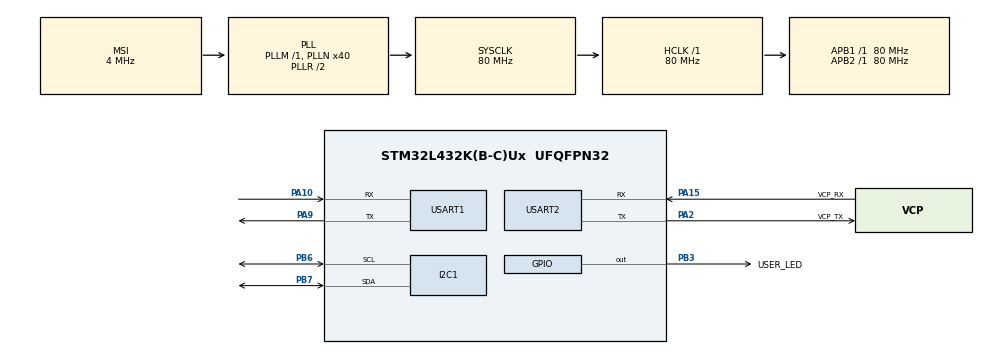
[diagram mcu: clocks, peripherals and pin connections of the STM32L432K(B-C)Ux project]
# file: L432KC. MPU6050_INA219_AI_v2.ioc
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I2C1.Timing=0x10D19CE4
Mcu.Family=STM32L4
Mcu.Name=STM32L432K(B-C)Ux
Mcu.Package=UFQFPN32
NVIC.PriorityGroup=NVIC_PRIORITYGROUP_4
PA0.GPIO_Label=MCO [High speed clock in]
PA0.Mode=HSE-External-Clock-Source-for-LittleOrca
PA0.Signal=RCC_CK_IN
PA10.Mode=Asynchronous
PA10.Signal=USART1_RX
PA13\ (JTMS-SWDIO).GPIO_Label=SWDIO
PA13\ (JTMS-SWDIO).Mode=Serial_Wire
PA13\ (JTMS-SWDIO).Signal=SYS_JTMS-SWDIO
PA14\ (JTCK-SWCLK).GPIO_Label=SWCLK
PA14\ (JTCK-SWCLK).Mode=Serial_Wire
PA14\ (JTCK-SWCLK).Signal=SYS_JTCK-SWCLK
PA15\ (JTDI).GPIO_Label=VCP_RX
PA15\ (JTDI).Mode=Asynchronous
PA15\ (JTDI).Signal=USART2_RX
PA2.GPIO_Label=VCP_TX
PA2.Mode=Asynchronous
PA2.Signal=USART2_TX
PA9.Mode=Asynchronous
PA9.Signal=USART1_TX
PB3\ (JTDO-TRACESWO).GPIO_Label=USER_LED
PB3\ (JTDO-TRACESWO).Signal=GPIO_Output
PB6.Mode=I2C
PB6.Signal=I2C1_SCL
PB7.Mode=I2C
PB7.Signal=I2C1_SDA
PC14-OSC32_IN\ (PC14).Mode=LSE-External-Oscillator
PC14-OSC32_IN\ (PC14).Signal=RCC_OSC32_IN
PC15-OSC32_OUT\ (PC15).Mode=LSE-External-Oscillator
PC15-OSC32_OUT\ (PC15).Signal=RCC_OSC32_OUT
ProjectManager.HeapSize=0x800
ProjectManager.StackSize=0x800
ProjectManager.TargetToolchain=STM32CubeIDE
RCC.AHBFreq_Value=80000000
RCC.APB1Freq_Value=80000000
RCC.APB1TimFreq_Value=80000000
RCC.APB2Freq_Value=80000000
RCC.APB2TimFreq_Value=80000000
RCC.CortexFreq_Value=80000000
RCC.HCLKFreq_Value=80000000
RCC.HSE_VALUE=8000000
RCC.HSI16_VALUE=16000000
RCC.HSI48_VALUE=48000000
RCC.HSI_VALUE=16000000
RCC.MSI_VALUE=4000000
RCC.PLLMUL=RCC_PLLMUL_4
RCC.PLLN=40
RCC.SYSCLKFreq_VALUE=80000000
RCC.SYSCLKSource=RCC_SYSCLKSOURCE_PLLCLK
RCC.VCOOutputFreq_Value=160000000
STMicroelectronics.X-CUBE-AI.10.2.0.ActivationBufferSizeList=2672
STMicroelectronics.X-CUBE-AI.10.2.0.ActivationBuffers=pool0
STMicroelectronics.X-CUBE-AI.10.2.0.ActivationNames=pool0
STMicroelectronics.X-CUBE-AI.10.2.0.ActivationSizes=AI_NETWORK_DATA_ACTIVATION_1_SIZE
STMicroelectronics.X-CUBE-AI.10.2.0.ApplicationCcDeviceJjApplication=ApplicationTemplate
STMicroelectronics.X-CUBE-AI.10.2.0.HeapSize=0x800
STMicroelectronics.X-CUBE-AI.10.2.0.InternalRamActivationBufferMaxSize=AI_NETWORK_DATA_ACTIVATIONS_SIZE
STMicroelectronics.X-CUBE-AI.10.2.0.LatestDirectoryUsed-8948988cd483a5e510699c6f2f5c29ddb332c8d1e6b1ee858876a3a81a83fe3c=C\:\\Users\\MSP\\Desktop\\Industrial-Edge_2026_02_21\\Industrial-Edge-AI-Solution-Challenge-2026\\python_code\\model
STMicroelectronics.X-CUBE-AI.10.2.0.MaximumNumberOfInputLayer=1
STMicroelectronics.X-CUBE-AI.10.2.0.MaximumNumberOfOutputLayer=1
STMicroelectronics.X-CUBE-AI.10.2.0.MaximumSizeOfInputLayer=1
STMicroelectronics.X-CUBE-AI.10.2.0.MaximumSizeOfOutputLayer=1
STMicroelectronics.X-CUBE-AI.10.2.0.ModelActualCompression-8948988cd483a5e510699c6f2f5c29ddb332c8d1e6b1ee858876a3a81a83fe3c=0.0
STMicroelectronics.X-CUBE-AI.10.2.0.ModelCompression-8948988cd483a5e510699c6f2f5c29ddb332c8d1e6b1ee858876a3a81a83fe3c=None
STMicroelectronics.X-CUBE-AI.10.2.0.ModelFlashOccupation-8948988cd483a5e510699c6f2f5c29ddb332c8d1e6b1ee858876a3a81a83fe3c=14776
STMicroelectronics.X-CUBE-AI.10.2.0.ModelHashList=8948988cd483a5e510699c6f2f5c29ddb332c8d1e6b1ee858876a3a81a83fe3c
STMicroelectronics.X-CUBE-AI.10.2.0.ModelKind-8948988cd483a5e510699c6f2f5c29ddb332c8d1e6b1ee858876a3a81a83fe3c=TFLITE
STMicroelectronics.X-CUBE-AI.10.2.0.ModelMacc-8948988cd483a5e510699c6f2f5c29ddb332c8d1e6b1ee858876a3a81a83fe3c=1027
STMicroelectronics.X-CUBE-AI.10.2.0.ModelName-8948988cd483a5e510699c6f2f5c29ddb332c8d1e6b1ee858876a3a81a83fe3c=network
STMicroelectronics.X-CUBE-AI.10.2.0.ModelNameList=network
STMicroelectronics.X-CUBE-AI.10.2.0.ModelRamOccupation-8948988cd483a5e510699c6f2f5c29ddb332c8d1e6b1ee858876a3a81a83fe3c=2672
STMicroelectronics.X-CUBE-AI.10.2.0.ModelStructureFile-8948988cd483a5e510699c6f2f5c29ddb332c8d1e6b1ee858876a3a81a83fe3c=C\:\\Users\\MSP\\Desktop\\Industrial-Edge_2026_02_21\\Industrial-Edge-AI-Solution-Challenge-2026\\python_code\\model\\motor_anomaly.tflite
STMicroelectronics.X-CUBE-AI.10.2.0.ModelType-8948988cd483a5e510699c6f2f5c29ddb332c8d1e6b1ee858876a3a81a83fe3c=STM32Cube.AI MCU runtime
STMicroelectronics.X-CUBE-AI.10.2.0.ReadyForCodeGeneration=true
STMicroelectronics.X-CUBE-AI.10.2.0.StackSize=0x800
STMicroelectronics.X-CUBE-AI.10.2.0.WorkingBufferStartAddrList=0xFFFFFFFF
STMicroelectronics.X-CUBE-AI.10.2.0.XAaCUBEAaAICcArtificialOoIntelligenceJjCore=true
STMicroelectronics.X-CUBE-AI.10.2.0.copyWeightToRam=false
STMicroelectronics.X-CUBE-AI.10.2.0.copyWeightToRam-8948988cd483a5e510699c6f2f5c29ddb332c8d1e6b1ee858876a3a81a83fe3c=false
STMicroelectronics.X-CUBE-AI.10.2.0.customLayerConfigEnabled=false
STMicroelectronics.X-CUBE-AI.10.2.0.customLayerConfigEnabled-8948988cd483a5e510699c6f2f5c29ddb332c8d1e6b1ee858876a3a81a83fe3c=false
STMicroelectronics.X-CUBE-AI.10.2.0.noOnnxIoTranspose=false
STMicroelectronics.X-CUBE-AI.10.2.0.noOnnxIoTranspose-8948988cd483a5e510699c6f2f5c29ddb332c8d1e6b1ee858876a3a81a83fe3c=false
STMicroelectronics.X-CUBE-AI.10.2.0.useInputAllocation=true
STMicroelectronics.X-CUBE-AI.10.2.0.useInputAllocation-8948988cd483a5e510699c6f2f5c29ddb332c8d1e6b1ee858876a3a81a83fe3c=true
STMicroelectronics.X-CUBE-AI.10.2.0.useOutputAllocation=true
STMicroelectronics.X-CUBE-AI.10.2.0.useOutputAllocation-8948988cd483a5e510699c6f2f5c29ddb332c8d1e6b1ee858876a3a81a83fe3c=true
USART1.VirtualMode-Asynchronous=VM_ASYNC
USART2.VirtualMode-Asynchronous=VM_ASYNC
VP_STMicroelectronics.X-CUBE-AI_VS_ArtificialOoIntelligenceJjXAaCUBEAaAI_10.2.0.Mode=ArtificialOoIntelligenceJjXAaCUBEAaAI
VP_STMicroelectronics.X-CUBE-AI_VS_DeviceJjApplication_10.2.0.Mode=DeviceJjApplication
board=NUCLEO-L432KC

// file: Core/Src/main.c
/* USER CODE BEGIN Header */
/**
  ******************************************************************************
  * @file           : main.c
  * @brief          : Main program body
  ******************************************************************************
  * @attention
  *
  * Copyright (c) 2026 STMicroelectronics.
  * All rights reserved.
  *
  * This software is licensed under terms that can be found in the LICENSE file
  * in the root directory of this software component.
  * If no LICENSE file comes with this software, it is provided AS-IS.
  *
  ******************************************************************************
  */
/* USER CODE END Header */
#include "main.h"
#include "app_x-cube-ai.h"

/* USER CODE BEGIN Includes */
#include <stdio.h>
#include <string.h>
#include "mpu6050.h"
#include "ina219.h"
#include "app_x-cube-ai.h"
#include "feature_extraction.h"
#include "anomaly_detection.h"

/* USER CODE END Includes */

/* USER CODE BEGIN PD */
#define MODE_COLLECT  0
#define MODE_INFER    1
#define CURRENT_MODE  MODE_INFER  // ← 수집할때: MODE_COLLECT / 추론할때: MODE_INFER
#define WINDOW_DIV_NUM 25
/* USER CODE END PD */

I2C_HandleTypeDef hi2c1;

UART_HandleTypeDef huart1;
UART_HandleTypeDef huart2;

/* USER CODE BEGIN PV */
MPU6050_t MPU6050_Data;
INA219_t  INA219_Data;

/* USER CODE END PV */

void SystemClock_Config(void);
static void MX_GPIO_Init(void);
static void MX_USART2_UART_Init(void);
static void MX_I2C1_Init(void);
static void MX_USART1_UART_Init(void);

/* USER CODE BEGIN 0 */

int _write(int file, char *ptr, int len)
{
	HAL_UART_Transmit(&huart2, (uint8_t*)ptr, len, HAL_MAX_DELAY);
	return len;
}

/* USER CODE END 0 */

int main(void)
{

  /* MCU Configuration--------------------------------------------------------*/

  /* Reset of all peripherals, Initializes the Flash interface and the Systick. */
  HAL_Init();

  /* Configure the system clock */
  SystemClock_Config();

  /* Initialize all configured peripherals */
  MX_GPIO_Init();
  MX_USART2_UART_Init();
  MX_I2C1_Init();
  MX_USART1_UART_Init();
  MX_X_CUBE_AI_Init();
  /* USER CODE BEGIN 2 */

  printf("=== Motor Anomaly Detection ===\r\n");

  if(MPU6050_Init(&hi2c1)) printf("MPU6050: OK\r\n");
  if(INA219_Init(&hi2c1))  printf("INA219:  OK\r\n");

#if CURRENT_MODE == MODE_COLLECT
  printf("Mode: DATA COLLECT\r\n");
  printf("time_s,ax,ay,az,gx,gy,gz,current,voltage,power\r\n");  // CSV 헤더!
#else
  printf("Mode: AI INFER\r\n");
  printf("AI Model: OK\r\n");
  anomaly_detection_init();  // ← 이 줄 추가!
#endif

  /* USER CODE END 2 */

  /* Infinite loop */
  while (1)
  {

  MX_X_CUBE_AI_Process();
    /* USER CODE BEGIN 3 */

	  MPU6050_Read_All(&hi2c1, &MPU6050_Data);
	  INA219_Read_All(&hi2c1, &INA219_Data);

#if CURRENT_MODE == MODE_COLLECT
	  printf("%d,%d,%d,%d,%d,%d,%.3f,%.2f,%.2f\r\n",
			  MPU6050_Data.Accel_X_RAW,
			  MPU6050_Data.Accel_Y_RAW,
			  MPU6050_Data.Accel_Z_RAW,
			  MPU6050_Data.Gyro_X_RAW,
			  MPU6050_Data.Gyro_Y_RAW,
			  MPU6050_Data.Gyro_Z_RAW,
			  INA219_Data.current,
			  INA219_Data.voltage,
			  INA219_Data.power);

#else
	  window_buf[window_idx % WINDOW_SIZE].ax      = (float)MPU6050_Data.Accel_X_RAW;
	  window_buf[window_idx % WINDOW_SIZE].ay      = (float)MPU6050_Data.Accel_Y_RAW;
	  window_buf[window_idx % WINDOW_SIZE].az      = (float)MPU6050_Data.Accel_Z_RAW;
	  window_buf[window_idx % WINDOW_SIZE].gx      = (float)MPU6050_Data.Gyro_X_RAW;
	  window_buf[window_idx % WINDOW_SIZE].gy      = (float)MPU6050_Data.Gyro_Y_RAW;
	  window_buf[window_idx % WINDOW_SIZE].gz      = (float)MPU6050_Data.Gyro_Z_RAW;
	  window_buf[window_idx % WINDOW_SIZE].current = INA219_Data.current;
	  window_buf[window_idx % WINDOW_SIZE].voltage = INA219_Data.voltage;
	  window_buf[window_idx % WINDOW_SIZE].power   = INA219_Data.power;
	  window_idx++;

	  if(window_idx >= WINDOW_SIZE && window_idx % WINDOW_DIV_NUM == 0) {
		  extract_features(window_buf, g_features);
		  normalize(g_features);
		  MX_X_CUBE_AI_Process();

		  anomaly_detection_process(g_output);

		  // overflow 방지
		  if(window_idx > 1000000) {
			  window_idx = WINDOW_SIZE;
		  }
	  }
#endif

	  HAL_Delay(100);
  }

  /* USER CODE END 3 */
}

void SystemClock_Config(void)
{
  RCC_OscInitTypeDef RCC_OscInitStruct = {0};
  RCC_ClkInitTypeDef RCC_ClkInitStruct = {0};

  /** Configure the main internal regulator output voltage
  */
  if (HAL_PWREx_ControlVoltageScaling(PWR_REGULATOR_VOLTAGE_SCALE1) != HAL_OK)
  {
    Error_Handler();
  }

  /** Configure LSE Drive Capability
  */
  HAL_PWR_EnableBkUpAccess();
  __HAL_RCC_LSEDRIVE_CONFIG(RCC_LSEDRIVE_LOW);

  /** Initializes the RCC Oscillators according to the specified parameters
  * in the RCC_OscInitTypeDef structure.
  */
  RCC_OscInitStruct.OscillatorType = RCC_OSCILLATORTYPE_LSE|RCC_OSCILLATORTYPE_MSI;
  RCC_OscInitStruct.LSEState = RCC_LSE_ON;
  RCC_OscInitStruct.MSIState = RCC_MSI_ON;
  RCC_OscInitStruct.MSICalibrationValue = 0;
  RCC_OscInitStruct.MSIClockRange = RCC_MSIRANGE_6;
  RCC_OscInitStruct.PLL.PLLState = RCC_PLL_ON;
  RCC_OscInitStruct.PLL.PLLSource = RCC_PLLSOURCE_MSI;
  RCC_OscInitStruct.PLL.PLLM = 1;
  RCC_OscInitStruct.PLL.PLLN = 40;
  RCC_OscInitStruct.PLL.PLLP = RCC_PLLP_DIV7;
  RCC_OscInitStruct.PLL.PLLQ = RCC_PLLQ_DIV2;
  RCC_OscInitStruct.PLL.PLLR = RCC_PLLR_DIV2;
  if (HAL_RCC_OscConfig(&RCC_OscInitStruct) != HAL_OK)
  {
    Error_Handler();
  }

  /** Initializes the CPU, AHB and APB buses clocks
  */
  RCC_ClkInitStruct.ClockType = RCC_CLOCKTYPE_HCLK|RCC_CLOCKTYPE_SYSCLK
                              |RCC_CLOCKTYPE_PCLK1|RCC_CLOCKTYPE_PCLK2;
  RCC_ClkInitStruct.SYSCLKSource = RCC_SYSCLKSOURCE_PLLCLK;
  RCC_ClkInitStruct.AHBCLKDivider = RCC_SYSCLK_DIV1;
  RCC_ClkInitStruct.APB1CLKDivider = RCC_HCLK_DIV1;
  RCC_ClkInitStruct.APB2CLKDivider = RCC_HCLK_DIV1;

  if (HAL_RCC_ClockConfig(&RCC_ClkInitStruct, FLASH_LATENCY_4) != HAL_OK)
  {
    Error_Handler();
  }

  /** Enable MSI Auto calibration
  */
  HAL_RCCEx_EnableMSIPLLMode();
}

static void MX_I2C1_Init(void)
{

  hi2c1.Instance = I2C1;
  hi2c1.Init.Timing = 0x10D19CE4;
  hi2c1.Init.OwnAddress1 = 0;
  hi2c1.Init.AddressingMode = I2C_ADDRESSINGMODE_7BIT;
  hi2c1.Init.DualAddressMode = I2C_DUALADDRESS_DISABLE;
  hi2c1.Init.OwnAddress2 = 0;
  hi2c1.Init.OwnAddress2Masks = I2C_OA2_NOMASK;
  hi2c1.Init.GeneralCallMode = I2C_GENERALCALL_DISABLE;
  hi2c1.Init.NoStretchMode = I2C_NOSTRETCH_DISABLE;
  if (HAL_I2C_Init(&hi2c1) != HAL_OK)
  {
    Error_Handler();
  }

  /** Configure Analogue filter
  */
  if (HAL_I2CEx_ConfigAnalogFilter(&hi2c1, I2C_ANALOGFILTER_ENABLE) != HAL_OK)
  {
    Error_Handler();
  }

  /** Configure Digital filter
  */
  if (HAL_I2CEx_ConfigDigitalFilter(&hi2c1, 0) != HAL_OK)
  {
    Error_Handler();
  }

}

static void MX_USART1_UART_Init(void)
{

  huart1.Instance = USART1;
  huart1.Init.BaudRate = 115200;
  huart1.Init.WordLength = UART_WORDLENGTH_8B;
  huart1.Init.StopBits = UART_STOPBITS_1;
  huart1.Init.Parity = UART_PARITY_NONE;
  huart1.Init.Mode = UART_MODE_TX_RX;
  huart1.Init.HwFlowCtl = UART_HWCONTROL_NONE;
  huart1.Init.OverSampling = UART_OVERSAMPLING_16;
  huart1.Init.OneBitSampling = UART_ONE_BIT_SAMPLE_DISABLE;
  huart1.AdvancedInit.AdvFeatureInit = UART_ADVFEATURE_NO_INIT;
  if (HAL_UART_Init(&huart1) != HAL_OK)
  {
    Error_Handler();
  }

}

static void MX_USART2_UART_Init(void)
{

  huart2.Instance = USART2;
  huart2.Init.BaudRate = 115200;
  huart2.Init.WordLength = UART_WORDLENGTH_8B;
  huart2.Init.StopBits = UART_STOPBITS_1;
  huart2.Init.Parity = UART_PARITY_NONE;
  huart2.Init.Mode = UART_MODE_TX_RX;
  huart2.Init.HwFlowCtl = UART_HWCONTROL_NONE;
  huart2.Init.OverSampling = UART_OVERSAMPLING_16;
  huart2.Init.OneBitSampling = UART_ONE_BIT_SAMPLE_DISABLE;
  huart2.AdvancedInit.AdvFeatureInit = UART_ADVFEATURE_NO_INIT;
  if (HAL_UART_Init(&huart2) != HAL_OK)
  {
    Error_Handler();
  }

}

static void MX_GPIO_Init(void)
{
  GPIO_InitTypeDef GPIO_InitStruct = {0};

  /* GPIO Ports Clock Enable */
  __HAL_RCC_GPIOC_CLK_ENABLE();
  __HAL_RCC_GPIOA_CLK_ENABLE();
  __HAL_RCC_GPIOB_CLK_ENABLE();

  /*Configure GPIO pin Output Level */
  HAL_GPIO_WritePin(USER_LED_GPIO_Port, USER_LED_Pin, GPIO_PIN_RESET);

  /*Configure GPIO pin : USER_LED_Pin */
  GPIO_InitStruct.Pin = USER_LED_Pin;
  GPIO_InitStruct.Mode = GPIO_MODE_OUTPUT_PP;
  GPIO_InitStruct.Pull = GPIO_NOPULL;
  GPIO_InitStruct.Speed = GPIO_SPEED_FREQ_LOW;
  HAL_GPIO_Init(USER_LED_GPIO_Port, &GPIO_InitStruct);

}

void Error_Handler(void)
{
  __disable_irq();
  while (1)
  {
  }
}
